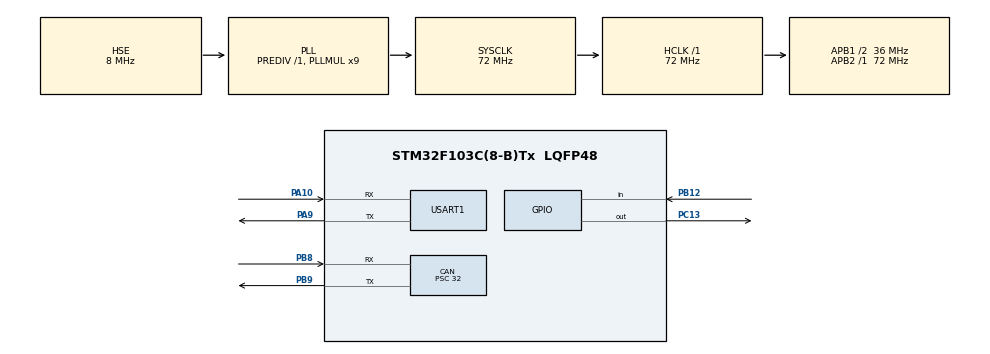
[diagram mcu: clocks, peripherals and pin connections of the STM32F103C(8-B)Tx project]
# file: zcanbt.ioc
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CAN.BS1=CAN_BS1_2TQ
CAN.BS2=CAN_BS2_2TQ
CAN.CalculateBaudRate=225000
CAN.CalculateTimeBit=4444
CAN.CalculateTimeQuantum=888.8888888888889
CAN.Prescaler=32
Mcu.Family=STM32F1
Mcu.Name=STM32F103C(8-B)Tx
Mcu.Package=LQFP48
NVIC.CAN1_RX1_IRQn=true\:0\:0\:false\:false\:true\:true\:true\:true
NVIC.PriorityGroup=NVIC_PRIORITYGROUP_4
NVIC.USB_LP_CAN1_RX0_IRQn=true\:0\:0\:false\:false\:true\:true\:true\:true
PA10.Mode=Asynchronous
PA10.Signal=USART1_RX
PA13.Mode=Serial_Wire
PA13.Signal=SYS_JTMS-SWDIO
PA14.Mode=Serial_Wire
PA14.Signal=SYS_JTCK-SWCLK
PA9.Mode=Asynchronous
PA9.Signal=USART1_TX
PB12.GPIO_PuPd=GPIO_PULLUP
PB12.Signal=GPIO_Input
PB8.Mode=CAN_Activate
PB8.Signal=CAN_RX
PB9.Mode=CAN_Activate
PB9.Signal=CAN_TX
PC13-TAMPER-RTC.Signal=GPIO_Output
PD0-OSC_IN.Mode=HSE-External-Oscillator
PD0-OSC_IN.Signal=RCC_OSC_IN
PD1-OSC_OUT.Mode=HSE-External-Oscillator
PD1-OSC_OUT.Signal=RCC_OSC_OUT
ProjectManager.HeapSize=0x200
ProjectManager.StackSize=0x400
ProjectManager.TargetToolchain=STM32CubeIDE
RCC.AHBFreq_Value=72000000
RCC.APB1CLKDivider=RCC_HCLK_DIV2
RCC.APB1Freq_Value=36000000
RCC.APB1TimFreq_Value=72000000
RCC.APB2Freq_Value=72000000
RCC.APB2TimFreq_Value=72000000
RCC.HCLKFreq_Value=72000000
RCC.PLLMUL=RCC_PLL_MUL9
RCC.PLLSourceVirtual=RCC_PLLSOURCE_HSE
RCC.SYSCLKFreq_VALUE=72000000
RCC.SYSCLKSource=RCC_SYSCLKSOURCE_PLLCLK
RCC.USBFreq_Value=72000000
USART1.VirtualMode=VM_ASYNC
board=custom

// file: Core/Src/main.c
/* USER CODE BEGIN Header */
/**
  ******************************************************************************
  * @file           : main.c
  * @brief          : Main program body
  ******************************************************************************
  * @attention
  *
  * Copyright (c) 2026 STMicroelectronics.
  * All rights reserved.
  *
  * This software is licensed under terms that can be found in the LICENSE file
  * in the root directory of this software component.
  * If no LICENSE file comes with this software, it is provided AS-IS.
  *
  ******************************************************************************
  */
/* USER CODE END Header */
#include "main.h"

/* USER CODE BEGIN Includes */
#include "stdio.h"
#include "stdint.h"
#include "string.h"

/* USER CODE END Includes */

CAN_HandleTypeDef hcan;

UART_HandleTypeDef huart1;

void SystemClock_Config(void);
static void MX_GPIO_Init(void);
static void MX_CAN_Init(void);
static void MX_USART1_UART_Init(void);

/* USER CODE BEGIN 0 */
CAN_TxHeaderTypeDef txHeader;
CAN_RxHeaderTypeDef rxHeader;

uint8_t txData[8];
uint8_t rxData[8];

uint32_t txMailbox;

int l1=0;
int l2=0;

void HAL_CAN_RxFifo1MsgPendingCallback(CAN_HandleTypeDef *hcan)
{
	HAL_CAN_GetRxMessage(hcan, CAN_RX_FIFO1, &rxHeader, rxData);
	char ch[64];
	uint32_t temp = rxData[4] | (rxData[5]<<8) | (rxData[6]<<16) | (rxData[7]<<24);
	float curr = *(float*) &temp;
	int l0 = curr;
	if(l2==2 && l1==1 && l0==0)
	{
		HAL_GPIO_TogglePin(GPIOC, GPIO_PIN_13);
	}
	l2 = l1;
	l1 = l0;
	//sprintf(ch, "%f\n", curr);
	//HAL_UART_Transmit(&huart1, ch, strlen(ch), 500);
	if(rxHeader.RTR)
	{

	}
}

/* USER CODE END 0 */

int main(void)
{

  /* MCU Configuration--------------------------------------------------------*/

  /* Reset of all peripherals, Initializes the Flash interface and the Systick. */
  HAL_Init();

  /* Configure the system clock */
  SystemClock_Config();

  /* Initialize all configured peripherals */
  MX_GPIO_Init();
  MX_CAN_Init();
  MX_USART1_UART_Init();
  /* USER CODE BEGIN 2 */
  HAL_CAN_Start(&hcan);
  txHeader.DLC=0;
  txHeader.StdId = 0x7fe;
  txHeader.IDE = CAN_ID_STD;
  txHeader.RTR = CAN_RTR_REMOTE;
  memset(&txData, 0, 8);
  HAL_UART_Transmit(&huart1, "Start\n", 5, 500);
  HAL_Delay(500);
  /* USER CODE END 2 */

  /* Infinite loop */
  /* USER CODE BEGIN WHILE */
  while (1)
  {
	  HAL_CAN_AddTxMessage(&hcan, &txHeader, txData, &txMailbox);

	  HAL_Delay(1000);
    /* USER CODE END WHILE */

  }
}

void SystemClock_Config(void)
{
  RCC_OscInitTypeDef RCC_OscInitStruct = {0};
  RCC_ClkInitTypeDef RCC_ClkInitStruct = {0};

  /** Initializes the RCC Oscillators according to the specified parameters
  * in the RCC_OscInitTypeDef structure.
  */
  RCC_OscInitStruct.OscillatorType = RCC_OSCILLATORTYPE_HSE;
  RCC_OscInitStruct.HSEState = RCC_HSE_ON;
  RCC_OscInitStruct.HSEPredivValue = RCC_HSE_PREDIV_DIV1;
  RCC_OscInitStruct.HSIState = RCC_HSI_ON;
  RCC_OscInitStruct.PLL.PLLState = RCC_PLL_ON;
  RCC_OscInitStruct.PLL.PLLSource = RCC_PLLSOURCE_HSE;
  RCC_OscInitStruct.PLL.PLLMUL = RCC_PLL_MUL9;
  if (HAL_RCC_OscConfig(&RCC_OscInitStruct) != HAL_OK)
  {
    Error_Handler();
  }

  /** Initializes the CPU, AHB and APB buses clocks
  */
  RCC_ClkInitStruct.ClockType = RCC_CLOCKTYPE_HCLK|RCC_CLOCKTYPE_SYSCLK
                              |RCC_CLOCKTYPE_PCLK1|RCC_CLOCKTYPE_PCLK2;
  RCC_ClkInitStruct.SYSCLKSource = RCC_SYSCLKSOURCE_PLLCLK;
  RCC_ClkInitStruct.AHBCLKDivider = RCC_SYSCLK_DIV1;
  RCC_ClkInitStruct.APB1CLKDivider = RCC_HCLK_DIV2;
  RCC_ClkInitStruct.APB2CLKDivider = RCC_HCLK_DIV1;

  if (HAL_RCC_ClockConfig(&RCC_ClkInitStruct, FLASH_LATENCY_2) != HAL_OK)
  {
    Error_Handler();
  }
}

static void MX_CAN_Init(void)
{

  hcan.Instance = CAN1;
  hcan.Init.Prescaler = 32;
  hcan.Init.Mode = CAN_MODE_NORMAL;
  hcan.Init.SyncJumpWidth = CAN_SJW_1TQ;
  hcan.Init.TimeSeg1 = CAN_BS1_2TQ;
  hcan.Init.TimeSeg2 = CAN_BS2_2TQ;
  hcan.Init.TimeTriggeredMode = DISABLE;
  hcan.Init.AutoBusOff = DISABLE;
  hcan.Init.AutoWakeUp = DISABLE;
  hcan.Init.AutoRetransmission = DISABLE;
  hcan.Init.ReceiveFifoLocked = DISABLE;
  hcan.Init.TransmitFifoPriority = DISABLE;
  if (HAL_CAN_Init(&hcan) != HAL_OK)
  {
    Error_Handler();
  }
  /* USER CODE BEGIN CAN_Init 2 */
  CAN_FilterTypeDef myFilter;
  myFilter.FilterActivation = CAN_FILTER_ENABLE;
  myFilter.FilterFIFOAssignment = CAN_FILTER_FIFO1;
  myFilter.FilterBank = 0;
  myFilter.FilterMode = CAN_FILTERMODE_IDMASK;
  myFilter.FilterIdHigh = 0x000<<5;
  myFilter.FilterIdLow = 0;
  myFilter.FilterMaskIdHigh = 0x000<<5;
  myFilter.FilterMaskIdLow = 0;
  myFilter.FilterScale = CAN_FILTERSCALE_32BIT;
  myFilter.SlaveStartFilterBank = 13;
  HAL_CAN_ConfigFilter(&hcan, &myFilter);
  HAL_CAN_ActivateNotification(&hcan, CAN_IT_RX_FIFO1_MSG_PENDING);

  /* USER CODE END CAN_Init 2 */

}

static void MX_USART1_UART_Init(void)
{

  huart1.Instance = USART1;
  huart1.Init.BaudRate = 115200;
  huart1.Init.WordLength = UART_WORDLENGTH_8B;
  huart1.Init.StopBits = UART_STOPBITS_1;
  huart1.Init.Parity = UART_PARITY_NONE;
  huart1.Init.Mode = UART_MODE_TX_RX;
  huart1.Init.HwFlowCtl = UART_HWCONTROL_NONE;
  huart1.Init.OverSampling = UART_OVERSAMPLING_16;
  if (HAL_UART_Init(&huart1) != HAL_OK)
  {
    Error_Handler();
  }

}

static void MX_GPIO_Init(void)
{
  GPIO_InitTypeDef GPIO_InitStruct = {0};

  /* GPIO Ports Clock Enable */
  __HAL_RCC_GPIOC_CLK_ENABLE();
  __HAL_RCC_GPIOD_CLK_ENABLE();
  __HAL_RCC_GPIOB_CLK_ENABLE();
  __HAL_RCC_GPIOA_CLK_ENABLE();

  /*Configure GPIO pin Output Level */
  HAL_GPIO_WritePin(GPIOC, GPIO_PIN_13, GPIO_PIN_RESET);

  /*Configure GPIO pin : PC13 */
  GPIO_InitStruct.Pin = GPIO_PIN_13;
  GPIO_InitStruct.Mode = GPIO_MODE_OUTPUT_PP;
  GPIO_InitStruct.Pull = GPIO_NOPULL;
  GPIO_InitStruct.Speed = GPIO_SPEED_FREQ_LOW;
  HAL_GPIO_Init(GPIOC, &GPIO_InitStruct);

  /*Configure GPIO pin : PB12 */
  GPIO_InitStruct.Pin = GPIO_PIN_12;
  GPIO_InitStruct.Mode = GPIO_MODE_INPUT;
  GPIO_InitStruct.Pull = GPIO_PULLUP;
  HAL_GPIO_Init(GPIOB, &GPIO_InitStruct);

}

void Error_Handler(void)
{
  __disable_irq();
  while (1)
  {
  }
}
